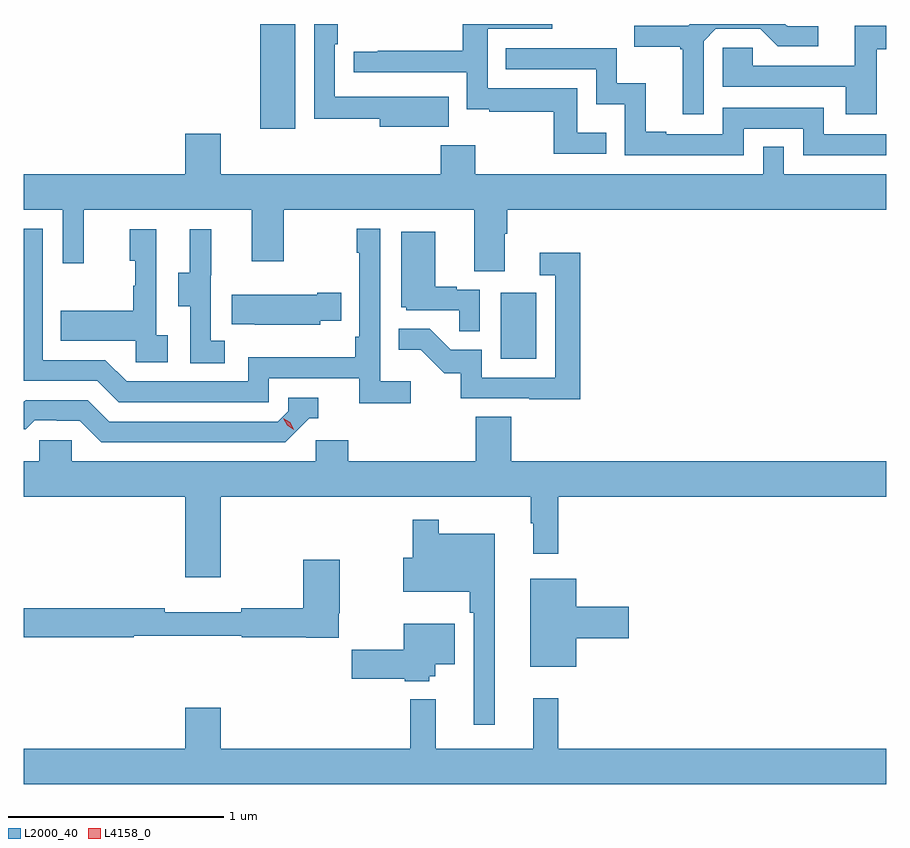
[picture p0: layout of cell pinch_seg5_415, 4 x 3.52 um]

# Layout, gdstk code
import gdstk
lib = gdstk.Library(unit=1e-6, precision=1e-09)
def R(c, l, rs):  # rectangles x0, y0, x1, y1
    for r in rs: c.add(gdstk.rectangle(r[:2], r[2:], *l))
def P(c, l, *ps):  # polygons
    for p in ps: c.add(gdstk.Polygon(p, *l))
L2000_40 = (2000, 40)
L4158_0 = (4158, 0)

pinch_seg5_415 = lib.new_cell('pinch_seg5_415')
R(pinch_seg5_415, L2000_40, [(969.668,858.732,969.832,859.039), (968.552,859.8,968.713,860.285)])
P(pinch_seg5_415, L2000_40, [(970.608,860.205),(970.665,860.262),(970.871,860.262),(970.952,860.181),(971.14,860.181),(971.14,860.274),(970.998,860.274),(970.987,860.285),(970.544,860.285),(970.536,860.277),(970.287,860.277),(970.287,860.18),(970.5,860.18),(970.5,860.169),(970.511,860.169),(970.511,859.866),(970.608,859.866)],
  [(969.425,859.948),(969.211,859.948),(969.211,859.947),(968.898,859.947),(968.898,860.192),(968.912,860.192),(968.912,860.285),(968.802,860.285),(968.802,859.846),(969.107,859.846),(969.107,859.808),(969.425,859.808)],
  [(970.157,859.78),(970.023,859.78),(970.023,859.986),(969.606,859.986),(969.606,860.262),(969.907,860.262),(969.907,860.285),(969.49,860.285),(969.49,860.162),(969.097,860.162),(969.097,860.157),(968.985,860.157),(968.985,860.061),(969.51,860.061),(969.51,859.889),(969.613,859.889),(969.613,859.878),(969.912,859.878),(969.912,859.683),(970.157,859.683)],
  [(971.411,860.169),(971.455,860.169),(971.455,860.277),(971.309,860.277),(971.309,860.091),(970.835,860.091),(970.835,860.175),(970.698,860.175),(970.698,859.995),(971.267,859.995),(971.267,859.866),(971.411,859.866)],
  [(970.794,859.8),(971.07,859.8),(971.07,859.677),(971.455,859.677),(971.455,859.773),(971.166,859.773),(971.166,859.896),(970.698,859.896),(970.698,859.773),(970.435,859.773),(970.435,859.786),(970.339,859.786),(970.339,860.011),(970.206,860.011),(970.206,860.172),(969.691,860.172),(969.691,860.076),(970.11,860.076),(970.11,859.913),(970.242,859.913),(970.242,859.677),(970.794,859.677)],
  [(969.685,859.312),(969.698,859.312),(969.698,859.424),(971.455,859.424),(971.455,859.588),(970.98,859.588),(970.98,859.715),(970.884,859.715),(970.884,859.588),(969.549,859.588),(969.549,859.723),(969.389,859.723),(969.389,859.588),(968.368,859.588),(968.368,859.777),(968.204,859.777),(968.204,859.588),(967.455,859.588),(967.455,859.424),(967.635,859.424),(967.635,859.176),(967.733,859.176),(967.733,859.424),(968.513,859.424),(968.513,859.185),(968.661,859.185),(968.661,859.424),(969.545,859.424),(969.545,859.138),(969.685,859.138)],
  [(969.25,858.628),(969.108,858.628),(969.108,859.336),(969,859.336),(969,859.223),(969.012,859.223),(969.012,858.835),(968.992,858.835),(968.992,858.739),(968.496,858.739),(968.496,858.627),(967.932,858.627),(967.833,858.726),(967.542,858.726),(967.542,859.335),(967.455,859.335),(967.455,858.63),(967.796,858.63),(967.895,858.531),(968.592,858.531),(968.592,858.642),(969.011,858.642),(969.011,858.526),(969.25,858.526)],
  [(968.122,858.842),(968.07,858.842),(968.07,859.333),(967.946,859.333),(967.946,859.188),(967.972,859.188),(967.972,859.07),(967.962,859.07),(967.962,858.955),(967.627,858.955),(967.627,858.815),(967.974,858.815),(967.974,858.717),(968.122,858.717)],
  [(968.386,858.815),(968.322,858.815),(968.322,859.119),(968.324,859.119),(968.324,859.333),(968.225,859.333),(968.225,859.131),(968.171,859.131),(968.171,858.976),(968.226,858.976),(968.226,858.712),(968.386,858.712)],
  [(969.57,859.053),(969.464,859.053),(969.464,859.066),(969.364,859.066),(969.364,859.321),(969.206,859.321),(969.206,858.972),(969.228,858.972),(969.228,858.957),(969.475,858.957),(969.475,858.859),(969.57,858.859)],
  [(970.037,859.225),(969.849,859.225),(969.849,859.119),(969.921,859.119),(969.921,858.645),(969.579,858.645),(969.579,858.774),(969.435,858.774),(969.337,858.872),(969.193,858.872),(969.193,858.773),(969.297,858.773),(969.404,858.666),(969.481,858.666),(969.481,858.549),(969.799,858.549),(969.799,858.544),(970.037,858.544)],
  [(968.829,858.908),(968.927,858.908),(968.927,859.038),(968.816,859.038),(968.816,859.03),(968.419,859.03),(968.419,858.893),(968.527,858.893),(968.527,858.89),(968.829,858.89)],
  [(968.778,858.456),(968.821,858.456),(968.821,858.552),(968.682,858.552),(968.682,858.489),(968.634,858.441),(967.851,858.441),(967.752,858.54),(967.463,858.54),(967.455,858.532),(967.455,858.405),(967.463,858.405),(967.505,858.447),(967.608,858.447),(967.608,858.444),(967.715,858.444),(967.814,858.345),(968.667,858.345)],
  [(968.368,858.092),(969.807,858.092),(969.807,857.969),(969.818,857.969),(969.818,857.829),(969.935,857.829),(969.935,858.092),(971.455,858.092),(971.455,858.256),(969.716,858.256),(969.716,858.464),(969.551,858.464),(969.551,858.256),(968.96,858.256),(968.96,858.354),(968.808,858.354),(968.808,858.256),(967.677,858.256),(967.677,858.354),(967.527,858.354),(967.527,858.256),(967.455,858.256),(967.455,858.092),(968.204,858.092),(968.204,857.718),(968.368,857.718)],
  [(969.64,857.92),(969.379,857.92),(969.379,857.986),(969.258,857.986),(969.258,857.809),(969.216,857.809),(969.216,857.651),(969.523,857.651),(969.523,857.555),(969.543,857.555),(969.543,857.034),(969.64,857.034)],
  [(968.916,857.551),(968.92,857.551),(968.92,857.8),(968.75,857.8),(968.75,857.576),(968.464,857.576),(968.464,857.557),(968.108,857.557),(968.108,857.576),(967.455,857.576),(967.455,857.44),(967.966,857.44),(967.966,857.448),(968.466,857.448),(968.466,857.44),(968.766,857.44),(968.766,857.438),(968.916,857.438)],
  [(970.018,857.435),(970.261,857.435),(970.261,857.582),(970.018,857.582),(970.018,857.713),(969.803,857.713),(969.803,857.303),(970.018,857.303)],
  [(969.336,857.259),(969.364,857.259),(969.364,857.315),(969.454,857.315),(969.454,857.503),(969.218,857.503),(969.218,857.383),(968.976,857.383),(968.976,857.248),(969.222,857.248),(969.222,857.237),(969.336,857.237)],
  [(971.455,856.924),(969.935,856.924),(969.935,857.158),(969.818,857.158),(969.818,856.924),(969.365,856.924),(969.365,857.152),(969.247,857.152),(969.247,856.924),(968.368,856.924),(968.368,857.113),(968.204,857.113),(968.204,856.924),(967.455,856.924),(967.455,856.76),(971.455,856.76)])
P(pinch_seg5_415, L4158_0, [(968.707,858.404),(968.676,858.423),(968.659,858.456),(968.659,858.456),(968.659,858.456),(968.69,858.437),(968.707,858.404),(968.707,858.404)])

lib.write_gds('pinch_seg5_415.gds')
